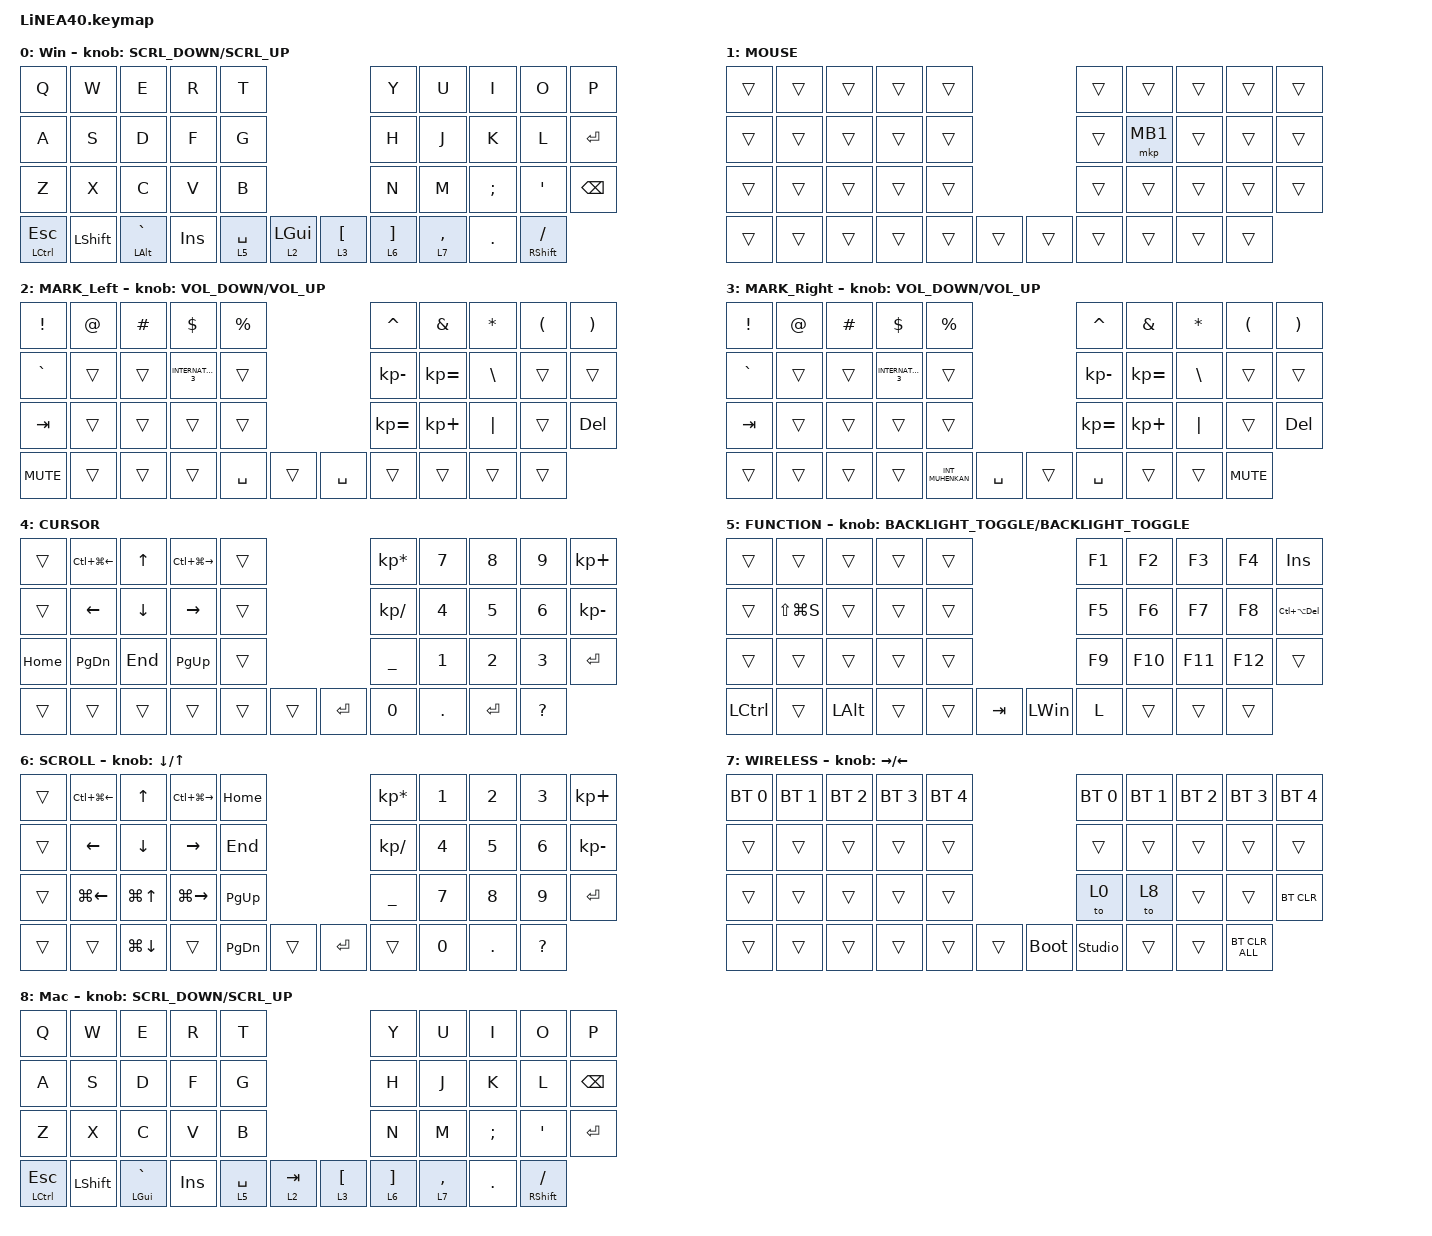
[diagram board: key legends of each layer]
#define ZMK_POINTING_DEFAULT_SCRL_VAL 150

#include <dt-bindings/zmk/input_transform.h>
#include <input/processors.dtsi>
#include <zephyr/dt-bindings/input/input-event-codes.h>
#include <behaviors.dtsi>
#include <dt-bindings/zmk/bt.h>
#include <dt-bindings/zmk/keys.h>
#include <dt-bindings/zmk/pointing.h>

#define MOUSE 1
#define MARK_Left 2
#define MARK_Right 3
#define CURSOR 4
#define FUNCTION 5
#define SCROLL 6
#define WIRELESS 7
#define Mac 8

//mouse cursol

&mmv {
    delay-ms = <20>;
    trigger-period-ms = <5>;
    time-to-max-speed-ms = <100>;
    acceleration-exponent = <2>;
};

//mouse scroll

&msc {
    delay-ms = <3>;
    trigger-period-ms = <3>;
    time-to-max-speed-ms = <100>;
    acceleration-exponent = <0>;
};

/ {
    input_processors {
        zip_wheel_scaler: zip_wheel_scaler {
            compatible = "zmk,input-processor-scaler";
            #input-processor-cells = <2>;
            type = <INPUT_EV_REL>;
            codes = <INPUT_REL_WHEEL>;
            track-remainders;
        };
    };
};

&msc_input_listener {
    speed_up {
        layers = <FUNCTION>;
        input-processors = <&zip_wheel_scaler 3 1>; //スクロールを3倍速にする
    };
};

&trackball_listener {
    scroller {
        layers = <SCROLL>;
        input-processors =
            <&zip_xy_transform INPUT_TRANSFORM_Y_INVERT>,
            //スクロール方向を逆転,,,,,,,,,
            <&zip_xy_to_scroll_mapper>;
    };
};

&mkp_input_listener { input-processors = <&zip_temp_layer 1 350>; };

/ {
    combos {
        compatible = "zmk,combos";

        ZenkakuHankaku {
            bindings = <&kp LA(GRAVE)>;
            key-positions = <11 12>;
        };

        DeleteKey {
            bindings = <&kp DEL>;
            key-positions = <7 8>;
        };

        InsertKey {
            bindings = <&kp INS>;
            key-positions = <6 7>;
        };

        CenterClick {
            bindings = <&mkp MB3>;
            key-positions = <17 16>;
        };

        RightClick {
            bindings = <&mkp MB2>;
            key-positions = <18 17>;
        };

        PrevClick {
            bindings = <&mkp MB4>;
            key-positions = <27 28>;
        };

        ClickNext {
            bindings = <&mkp MB5>;
            key-positions = <26 27>;
        };
    };

    behaviors {
        re_kp: sensor_rotate_kp {
            compatible = "zmk,behavior-sensor-rotate-var";
            #sensor-binding-cells = <2>;
            bindings = <&kp>, <&kp>;
        };

        mouse_scrl: mouse_wheel_scrl {
            compatible = "zmk,behavior-sensor-rotate-var";
            #sensor-binding-cells = <2>;
            bindings = <&msc>, <&msc>;

            tap-ms = <20>;
        };
    };

    keymap {
        compatible = "zmk,keymap";

        Win {
            bindings = <
&kp Q          &kp W           &kp E               &kp R    &kp T                                      &kp Y       &kp U  &kp I          &kp O       &kp P
&kp A          &kp S           &kp D               &kp F    &kp G                                      &kp H       &kp J  &kp K          &kp L       &kp ENTER
&kp Z          &kp X           &kp C               &kp V    &kp B                                      &kp N       &kp M  &kp SEMICOLON  &kp SQT     &kp BACKSPACE
&mt LCTRL ESC  &kp LEFT_SHIFT  &mt LEFT_ALT GRAVE  &kp INS  &lt 5 SPACE  &lt 2 LEFT_GUI    &lt 3 LBKT  &lt 6 RBKT         &lt 7 COMMA    &kp PERIOD  &mt RIGHT_SHIFT SLASH
            >;

            sensor-bindings = <&mouse_scrl SCRL_DOWN SCRL_UP>;
        };

        MOUSE {
            bindings = <
&trans  &trans  &trans  &trans  &trans                    &trans  &trans    &trans  &trans  &trans
&trans  &trans  &trans  &trans  &trans                    &trans  &mkp MB1  &trans  &trans  &trans
&trans  &trans  &trans  &trans  &trans                    &trans  &trans    &trans  &trans  &trans
&trans  &trans  &trans  &trans  &trans  &trans    &trans  &trans            &trans  &trans  &trans
            >;
        };

        MARK_Left {
            bindings = <
&kp EXCLAMATION  &kp AT  &kp HASH  &kp DOLLAR           &kp PERCENT                       &kp CARET     &kp AMPERSAND  &kp ASTERISK   &kp LEFT_PARENTHESIS  &kp RIGHT_PARENTHESIS
&kp GRAVE        &trans  &trans    &kp INTERNATIONAL_3  &trans                            &kp KP_MINUS  &kp KP_EQUAL   &kp BACKSLASH  &trans                &trans
&kp TAB          &trans  &trans    &trans               &trans                            &kp KP_EQUAL  &kp KP_PLUS    &kp PIPE       &trans                &kp DEL
&kp C_MUTE       &trans  &trans    &trans               &kp SPACE    &trans    &kp SPACE  &trans                       &trans         &trans                &trans
            >;

            sensor-bindings = <&re_kp C_VOLUME_DOWN C_VOLUME_UP>;
        };

        MARK_Right {
            bindings = <
&kp EXCLAMATION  &kp AT  &kp HASH  &kp DOLLAR           &kp PERCENT                            &kp CARET     &kp AMPERSAND  &kp ASTERISK   &kp LEFT_PARENTHESIS  &kp RIGHT_PARENTHESIS
&kp GRAVE        &trans  &trans    &kp INTERNATIONAL_3  &trans                                 &kp KP_MINUS  &kp KP_EQUAL   &kp BACKSLASH  &trans                &trans
&kp TAB          &trans  &trans    &trans               &trans                                 &kp KP_EQUAL  &kp KP_PLUS    &kp PIPE       &trans                &kp DEL
&trans           &trans  &trans    &trans               &kp INT_MUHENKAN  &kp SPACE    &trans  &kp SPACE                    &trans         &trans                &kp C_MUTE
            >;

            sensor-bindings = <&re_kp C_VOLUME_DOWN C_VOLUME_UP>;
        };

        CURSOR {
            bindings = <
&trans    &kp LC(LG(LEFT_ARROW))  &kp UP_ARROW  &kp LC(LG(RIGHT_ARROW))  &trans                       &kp KP_MULTIPLY  &kp NUMBER_7  &kp NUMBER_8  &kp NUMBER_9  &kp KP_PLUS
&trans    &kp LEFT_ARROW          &kp DOWN      &kp RIGHT_ARROW          &trans                       &kp KP_SLASH     &kp NUMBER_4  &kp NUMBER_5  &kp NUMBER_6  &kp KP_MINUS
&kp HOME  &kp PAGE_DOWN           &kp END       &kp PAGE_UP              &trans                       &kp UNDER        &kp NUMBER_1  &kp NUMBER_2  &kp NUMBER_3  &kp ENTER
&trans    &trans                  &trans        &trans                   &trans  &trans    &kp ENTER  &kp NUMBER_0                   &kp DOT       &kp ENTER     &kp QUESTION
            >;
        };

        FUNCTION {
            bindings = <
&trans     &trans         &trans        &trans  &trans                           &kp F1  &kp F2   &kp F3   &kp F4   &kp INSERT
&trans     &kp LS(LG(S))  &trans        &trans  &trans                           &kp F5  &kp F6   &kp F7   &kp F8   &kp LC(LA(DELETE))
&trans     &trans         &trans        &trans  &trans                           &kp F9  &kp F10  &kp F11  &kp F12  &trans
&kp LCTRL  &trans         &kp LEFT_ALT  &trans  &trans  &kp TAB    &kp LEFT_WIN  &kp L            &trans   &trans   &trans
            >;

            sensor-bindings = <&re_kp C_BACKLIGHT_TOGGLE C_BACKLIGHT_TOGGLE>;
        };

        SCROLL {
            bindings = <
&trans  &kp LC(LG(LEFT_ARROW))  &kp UP_ARROW        &kp LC(LG(RIGHT_ARROW))  &kp HOME                            &kp KP_MULTIPLY  &kp NUMBER_1  &kp NUMBER_2  &kp NUMBER_3  &kp KP_PLUS
&trans  &kp LEFT_ARROW          &kp DOWN            &kp RIGHT_ARROW          &kp END                             &kp KP_SLASH     &kp NUMBER_4  &kp NUMBER_5  &kp NUMBER_6  &kp KP_MINUS
&trans  &kp LG(LEFT_ARROW)      &kp LG(UP_ARROW)    &kp LG(RIGHT_ARROW)      &kp PAGE_UP                         &kp UNDER        &kp N7        &kp N8        &kp N9        &kp ENTER
&trans  &trans                  &kp LG(DOWN_ARROW)  &trans                   &kp PAGE_DOWN  &trans    &kp ENTER  &trans                         &kp NUMBER_0  &kp DOT       &kp QUESTION
            >;

            sensor-bindings = <&inc_dec_kp DOWN_ARROW UP_ARROW>;
        };

        WIRELESS {
            bindings = <
&bt BT_SEL 0  &bt BT_SEL 1  &bt BT_SEL 2  &bt BT_SEL 3  &bt BT_SEL 4                         &bt BT_SEL 0    &bt BT_SEL 1  &bt BT_SEL 2  &bt BT_SEL 3  &bt BT_SEL 4
&trans        &trans        &trans        &trans        &trans                               &trans          &trans        &trans        &trans        &trans
&trans        &trans        &trans        &trans        &trans                               &to 0           &to 8         &trans        &trans        &bt BT_CLR
&trans        &trans        &trans        &trans        &trans        &trans    &bootloader  &studio_unlock                &trans        &trans        &bt BT_CLR_ALL
            >;

            sensor-bindings = <&inc_dec_kp RIGHT_ARROW LEFT_ARROW>;
        };

        Mac {
            bindings = <
&kp Q          &kp W           &kp E               &kp R    &kp T                                 &kp Y       &kp U  &kp I          &kp O       &kp P
&kp A          &kp S           &kp D               &kp F    &kp G                                 &kp H       &kp J  &kp K          &kp L       &kp BACKSPACE
&kp Z          &kp X           &kp C               &kp V    &kp B                                 &kp N       &kp M  &kp SEMICOLON  &kp SQT     &kp ENTER
&mt LCTRL ESC  &kp LEFT_SHIFT  &mt LEFT_GUI GRAVE  &kp INS  &lt 5 SPACE  &lt 2 TAB    &lt 3 LBKT  &lt 6 RBKT         &lt 7 COMMA    &kp PERIOD  &mt RIGHT_SHIFT SLASH
            >;

            sensor-bindings = <&mouse_scrl SCRL_DOWN SCRL_UP>;
        };
    };
};
